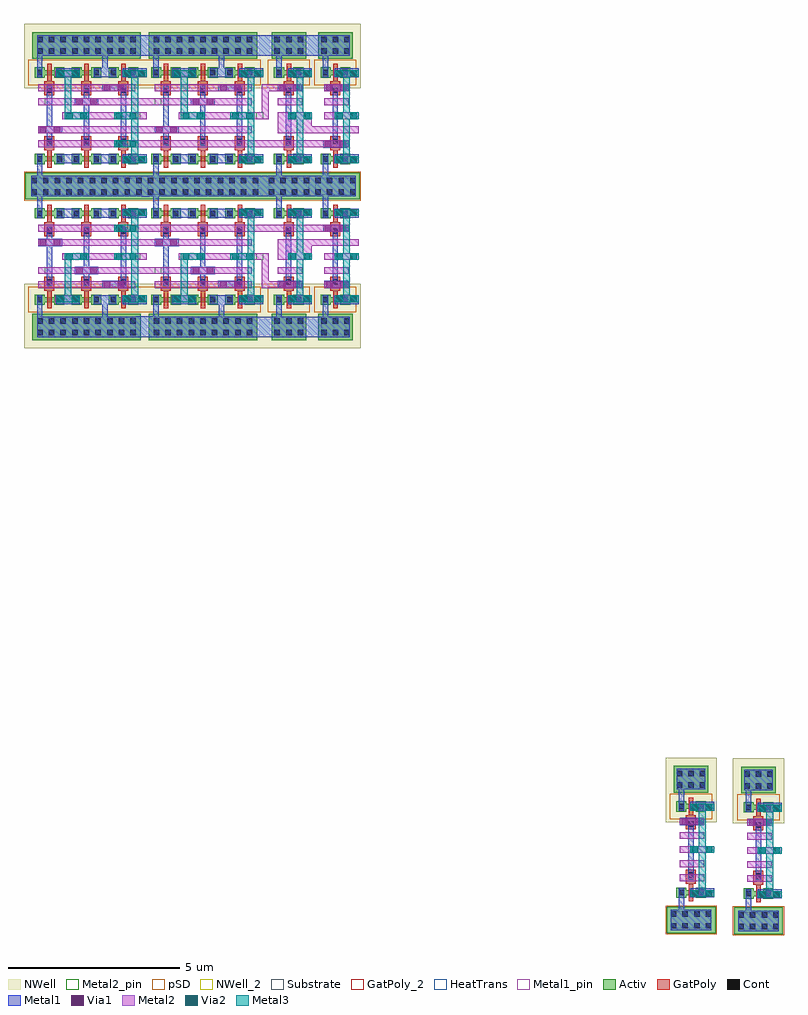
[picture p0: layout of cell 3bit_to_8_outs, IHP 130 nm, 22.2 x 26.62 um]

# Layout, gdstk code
from math import pi, radians
import gdstk
lib = gdstk.Library(unit=1e-6, precision=1e-09)
def R(c, l, rs):  # rectangles x0, y0, x1, y1
    for r in rs: c.add(gdstk.rectangle(r[:2], r[2:], *l))
def A(c, l, x, y, w, h, nx, ny, dx, dy):  # array of equal rectangles
    R(c, l, [(x+i*dx, y+j*dy, x+i*dx+w, y+j*dy+h) for i in range(nx) for j in range(ny)])
Activ = (1, 0)
GatPoly = (5, 0)
GatPoly_2 = (5, 2)
Cont = (6, 0)
Metal1 = (8, 0)
Metal1_pin = (8, 2)
Metal2 = (10, 0)
Metal2_pin = (10, 2)
pSD = (14, 0)
Via1 = (19, 0)
Via2 = (29, 0)
Metal3 = (30, 0)
NWell = (31, 0)
NWell_2 = (31, 2)
Substrate = (40, 0)
HeatTrans = (51, 0)

via_12 = lib.new_cell('Via$12')
R(via_12, Metal1, [(-0.35,-0.105,0.35,0.105)])
R(via_12, Metal2, [(-0.35,-0.1,0.35,0.1)])
R(via_12, Via1, [(-0.3,-0.095,-0.11,0.095), (0.11,-0.095,0.3,0.095)])

ntap1 = lib.new_cell('ntap1')
R(ntap1, Activ, [(0,0,3.17,0.78)])
A(ntap1, Cont, 0.145, 0.14, 0.16, 0.16, 9, 2, 0.34, 0.34)
R(ntap1, Metal1, [(0.145,0.09,3.025,0.69)])
R(ntap1, Metal1_pin, [(0.145,0.09,3.025,0.69), (0.145,0.14,3.025,0.64)])
R(ntap1, NWell, [(-0.24,-0.24,3.41,1.02), (0,0,3.17,0.78)])
R(ntap1, NWell_2, [(0,0,3.17,0.78)])
ntap1.add(gdstk.Label('well', (1.585,0.01), layer=63, texttype=0))
ntap1.add(gdstk.Label('well', (1.585,0.01), layer=31, texttype=0))

ptap1 = lib.new_cell('ptap1')
R(ptap1, Activ, [(0,0,3.59,0.78)])
A(ptap1, Cont, 0.185, 0.14, 0.16, 0.16, 10, 2, 0.34, 0.34)
R(ptap1, Metal1, [(0.185,0.09,3.405,0.69), (0.185,0.14,3.405,0.64)])
R(ptap1, Metal1_pin, [(0.185,0.14,3.405,0.64)])
R(ptap1, pSD, [(-0.03,-0.03,3.62,0.81)])
R(ptap1, Substrate, [(0,0,3.59,0.78)])
ptap1.add(gdstk.Label('sub!', (1.795,0.01), layer=63, texttype=0))
ptap1.add(gdstk.Label('sub!', (1.795,0.01), layer=40, texttype=0))

nmos = lib.new_cell('nmos')
R(nmos, Activ, [(0,0,0.3,0.3), (0.57,0,0.87,0.3), (0,0.075,0.87,0.225)])
R(nmos, GatPoly, [(0.37,-0.105,0.5,0.405)])
R(nmos, GatPoly_2, [(0.37,-0.105,0.5,0.405)])
R(nmos, Cont, [(0.07,0.07,0.23,0.23), (0.64,0.07,0.8,0.23)])
R(nmos, Metal1, [(0.07,0.02,0.23,0.28), (0.64,0.02,0.8,0.28)])
R(nmos, Metal1_pin, [(0.07,0.02,0.23,0.28), (0.64,0.02,0.8,0.28)])
R(nmos, HeatTrans, [(0.37,-0.105,0.5,0.405)])
nmos.add(gdstk.Label('nmos', (0.435,0.15), layer=63, texttype=0))
nmos.add(gdstk.Label('nmos', (0.435,0.15), layer=51, texttype=0))

pmos = lib.new_cell('pmos')
R(pmos, Activ, [(0,0,0.3,0.3), (0.57,0,0.87,0.3), (0,0.075,0.87,0.225)])
R(pmos, GatPoly, [(0.37,-0.105,0.5,0.405), (0.37,-0.105,0.5,0.405)])
R(pmos, Cont, [(0.07,0.07,0.23,0.23), (0.64,0.07,0.8,0.23)])
R(pmos, Metal1, [(0.07,0.02,0.23,0.28), (0.07,0.02,0.23,0.28), (0.64,0.02,0.8,0.28), (0.64,0.02,0.8,0.28)])
R(pmos, pSD, [(-0.18,-0.225,1.05,0.525)])
R(pmos, NWell, [(-0.31,-0.31,1.18,0.61)])
R(pmos, Substrate, [(0.57,0,0.87,0.3)])
R(pmos, HeatTrans, [(0.37,-0.105,0.5,0.405)])
pmos.add(gdstk.Label('pmos', (0.435,0.15), layer=63, texttype=0))
pmos.add(gdstk.Label('pmos', (0.435,0.15), layer=51, texttype=0))

via = lib.new_cell('Via')
R(via, GatPoly, [(-0.15,-0.15,0.15,0.15)])
R(via, Cont, [(-0.08,-0.08,0.08,0.08)])
R(via, Metal1, [(-0.13,-0.08,0.13,0.08)])

via_2 = lib.new_cell('Via$2')
R(via_2, Metal1, [(-0.105,-0.35,0.105,0.35)])
R(via_2, Metal2, [(-0.1,-0.35,0.1,0.35)])
R(via_2, Via1, [(-0.095,-0.3,0.095,-0.11), (-0.095,0.11,0.095,0.3)])

via_8 = lib.new_cell('Via$8')
R(via_8, Metal2, [(-0.35,-0.1,0.35,0.1)])
R(via_8, Via2, [(-0.3,-0.095,-0.11,0.095), (0.11,-0.095,0.3,0.095)])
R(via_8, Metal3, [(-0.35,-0.1,0.35,0.1)])

via_4 = lib.new_cell('Via$4')
R(via_4, Metal2, [(-0.1,-0.35,0.1,0.35)])
R(via_4, Via2, [(-0.095,-0.3,0.095,-0.11), (-0.095,0.11,0.095,0.3)])
R(via_4, Metal3, [(-0.1,-0.35,0.1,0.35)])

via_6 = lib.new_cell('Via$6')
R(via_6, Metal1, [(-0.35,-0.105,0.35,0.105)])
R(via_6, Metal2, [(-0.35,-0.1,0.35,0.1)])
R(via_6, Via1, [(-0.3,-0.095,-0.11,0.095), (0.11,-0.095,0.3,0.095)])

nand_3in = lib.new_cell('NAND_3in')
A(nand_3in, GatPoly, 9.375, 7.165, 0.3, 0.11, 3, 2, 1.08, 1.9)
R(nand_3in, Metal1, [(9.735,6.78,10.405,7.04), (10.815,6.78,11.485,7.04), (11.665,6.78,12.365,7.04), (9.72,9.3,10.42,9.56), (10.815,9.3,11.485,9.56), (11.665,9.3,12.365,9.56)])
R(nand_3in, Metal1_pin, [(9.16,6.015,9.36,6.215), (9.325,10.12,9.525,10.32)])
R(nand_3in, Metal2_pin, [(9.2,7.66,9.4,7.86), (12.165,8.07,12.365,8.27), (9.2,8.48,9.4,8.68), (9.2,8.89,9.4,9.09)])
nand_3in.add(gdstk.FlexPath([(11.685,7.555),(11.685,8.785)], 0.16, ends="flush", simple_path=True, layer=8, datatype=0))  # Metal1
nand_3in.add(gdstk.FlexPath([(11.15,9.56),(11.15,9.925)], 0.16, ends="flush", simple_path=True, layer=8, datatype=0))  # Metal1
nand_3in.add(gdstk.FlexPath([(9.245,9.56),(9.245,10.525)], 0.16, ends="flush", simple_path=True, layer=8, datatype=0))  # Metal1
nand_3in.add(gdstk.FlexPath([(9.245,6.78),(9.245,6.415)], 0.16, ends="flush", simple_path=True, layer=8, datatype=0))  # Metal1
nand_3in.add(gdstk.FlexPath([(9.525,7.555),(9.525,8.785)], 0.16, ends="flush", simple_path=True, layer=8, datatype=0))  # Metal1
nand_3in.add(gdstk.FlexPath([(10.605,7.555),(10.605,8.785)], 0.16, ends="flush", simple_path=True, layer=8, datatype=0))  # Metal1
nand_3in.add(gdstk.FlexPath([(9.9,8.17),(12.365,8.17)], 0.2, ends="flush", simple_path=True, layer=10, datatype=0))  # Metal2
nand_3in.add(gdstk.FlexPath([(11.81,9.405),(11.645,9.405)], 0.2, ends="flush", simple_path=True, layer=10, datatype=0))  # Metal2
nand_3in.add(gdstk.FlexPath([(11.81,6.885),(11.645,6.885)], 0.2, ends="flush", simple_path=True, layer=10, datatype=0))  # Metal2
nand_3in.add(gdstk.FlexPath([(9.2,7.76),(12.035,7.76)], 0.2, ends="flush", simple_path=True, layer=10, datatype=0))  # Metal2
nand_3in.add(gdstk.FlexPath([(9.2,7.35),(12.035,7.35)], 0.2, ends="flush", simple_path=True, layer=10, datatype=0))  # Metal2
nand_3in.add(gdstk.FlexPath([(9.2,8.99),(12.035,8.99)], 0.2, ends="flush", simple_path=True, layer=10, datatype=0))  # Metal2
nand_3in.add(gdstk.FlexPath([(9.2,8.58),(12.035,8.58)], 0.2, ends="flush", simple_path=True, layer=10, datatype=0))  # Metal2
nand_3in.add(gdstk.FlexPath([(9.865,9.405),(9.7,9.405)], 0.2, ends="flush", simple_path=True, layer=10, datatype=0))  # Metal2
nand_3in.add(gdstk.FlexPath([(10.43,8.58),(10.43,8.58)], 0.2, ends="flush", simple_path=True, layer=10, datatype=0))  # Metal2
nand_3in.add(gdstk.FlexPath([(12.015,6.885),(12.015,8.17)], 0.2, ends="flush", simple_path=True, layer=30, datatype=0))  # Metal3
nand_3in.add(gdstk.FlexPath([(12.015,9.405),(12.015,8.17)], 0.2, ends="flush", simple_path=True, layer=30, datatype=0))  # Metal3
nand_3in.add(gdstk.FlexPath([(10.07,9.305),(10.07,8.07)], 0.2, ends="flush", simple_path=True, layer=30, datatype=0))  # Metal3
nand_3in.add(gdstk.Reference(ntap1, (9.025,9.835)))
nand_3in.add(gdstk.Reference(ptap1, (8.815,5.725)))
nand_3in.add(gdstk.Reference(nmos, (10.175,6.76)))
nand_3in.add(gdstk.Reference(pmos, (10.175,9.28)))
nand_3in.add(gdstk.Reference(nmos, (9.095,6.76)))
nand_3in.add(gdstk.Reference(pmos, (9.095,9.28)))
nand_3in.add(gdstk.Reference(via, (9.525,8.915), rotation=pi/2))
nand_3in.add(gdstk.Reference(via, (10.605,8.915), rotation=pi/2))
nand_3in.add(gdstk.Reference(via, (10.605,7.425), rotation=3*pi/2))
nand_3in.add(gdstk.Reference(via, (9.525,7.425), rotation=3*pi/2))
nand_3in.add(gdstk.Reference(via_2, (10.61,8.58), rotation=3*pi/2))
nand_3in.add(gdstk.Reference(via_8, (10.32,8.17)))
nand_3in.add(gdstk.Reference(via_2, (10.07,9.405), rotation=3*pi/2))
nand_3in.add(gdstk.Reference(via_4, (10.07,9.405), rotation=3*pi/2))
nand_3in.add(gdstk.Reference(via_6, (11.415,8.99)))
nand_3in.add(gdstk.Reference(pmos, (11.255,9.28)))
nand_3in.add(gdstk.Reference(nmos, (11.255,6.76)))
nand_3in.add(gdstk.Reference(via, (11.685,8.915), rotation=pi/2))
nand_3in.add(gdstk.Reference(via, (11.685,7.425), rotation=3*pi/2))
nand_3in.add(gdstk.Reference(via_2, (9.55,7.76), rotation=3*pi/2))
nand_3in.add(gdstk.Reference(via_2, (12.015,9.405), rotation=3*pi/2))
nand_3in.add(gdstk.Reference(via_4, (12.015,9.405), rotation=3*pi/2))
nand_3in.add(gdstk.Reference(via_2, (12.015,6.885), rotation=3*pi/2))
nand_3in.add(gdstk.Reference(via_4, (12.015,6.885), rotation=3*pi/2))
nand_3in.add(gdstk.Reference(via_8, (11.765,8.17)))
nand_3in.add(gdstk.Label('c', (9.315,7.755), layer=10, texttype=25))
nand_3in.add(gdstk.Label('y', (12.265,8.17), layer=10, texttype=25))
nand_3in.add(gdstk.Label('b', (9.315,8.575), layer=10, texttype=25))
nand_3in.add(gdstk.Label('a', (9.3,8.99), layer=10, texttype=25))
nand_3in.add(gdstk.Label('VP', (9.295,10.22), layer=8, texttype=25))
nand_3in.add(gdstk.Label('GND', (9.26,6.115), layer=8, texttype=25))

via_11 = lib.new_cell('Via$11')
R(via_11, Metal2, [(-0.35,-0.1,0.35,0.1)])
R(via_11, Via2, [(-0.3,-0.095,-0.11,0.095), (0.11,-0.095,0.3,0.095)])
R(via_11, Metal3, [(-0.35,-0.1,0.35,0.1)])

via_4_1 = lib.new_cell('Via$4$1')
R(via_4_1, Metal2, [(-0.1,-0.35,0.1,0.35)])
R(via_4_1, Via2, [(-0.095,-0.3,0.095,-0.11), (-0.095,0.11,0.095,0.3)])
R(via_4_1, Metal3, [(-0.1,-0.35,0.1,0.35)])

ntap1_1 = lib.new_cell('ntap1$1')
R(ntap1_1, Activ, [(0,0,1.01,0.78)])
A(ntap1_1, Cont, 0.085, 0.14, 0.16, 0.16, 3, 2, 0.34, 0.34)
R(ntap1_1, Metal1, [(0.085,0.09,0.925,0.69)])
R(ntap1_1, Metal1_pin, [(0.085,0.09,0.925,0.69), (0.085,0.14,0.925,0.64)])
R(ntap1_1, NWell, [(-0.24,-0.24,1.25,1.02), (0,0,1.01,0.78)])
R(ntap1_1, NWell_2, [(0,0,1.01,0.78)])
ntap1_1.add(gdstk.Label('well', (0.505,0.01), layer=63, texttype=0))
ntap1_1.add(gdstk.Label('well', (0.505,0.01), layer=31, texttype=0))

ptap1_1 = lib.new_cell('ptap1$1')
R(ptap1_1, Activ, [(0,0,1.43,0.78)])
A(ptap1_1, Cont, 0.125, 0.14, 0.16, 0.16, 4, 2, 0.34, 0.34)
R(ptap1_1, Metal1, [(0.125,0.09,1.305,0.69), (0.125,0.14,1.305,0.64)])
R(ptap1_1, Metal1_pin, [(0.125,0.14,1.305,0.64)])
R(ptap1_1, pSD, [(-0.03,-0.03,1.46,0.81)])
R(ptap1_1, Substrate, [(0,0,1.43,0.78)])
ptap1_1.add(gdstk.Label('sub!', (0.715,0.01), layer=63, texttype=0))
ptap1_1.add(gdstk.Label('sub!', (0.715,0.01), layer=40, texttype=0))

via_2_1 = lib.new_cell('Via$2$1')
R(via_2_1, Metal1, [(-0.105,-0.35,0.105,0.35)])
R(via_2_1, Metal2, [(-0.1,-0.35,0.1,0.35)])
R(via_2_1, Via1, [(-0.095,-0.3,0.095,-0.11), (-0.095,0.11,0.095,0.3)])

nmos_1 = lib.new_cell('nmos$1')
R(nmos_1, Activ, [(0,0,0.3,0.3), (0.57,0,0.87,0.3), (0,0.075,0.87,0.225)])
R(nmos_1, GatPoly, [(0.37,-0.105,0.5,0.405)])
R(nmos_1, GatPoly_2, [(0.37,-0.105,0.5,0.405)])
R(nmos_1, Cont, [(0.07,0.07,0.23,0.23), (0.64,0.07,0.8,0.23)])
R(nmos_1, Metal1, [(0.07,0.02,0.23,0.28), (0.64,0.02,0.8,0.28)])
R(nmos_1, Metal1_pin, [(0.07,0.02,0.23,0.28), (0.64,0.02,0.8,0.28)])
R(nmos_1, HeatTrans, [(0.37,-0.105,0.5,0.405)])
nmos_1.add(gdstk.Label('nmos', (0.435,0.15), layer=63, texttype=0))
nmos_1.add(gdstk.Label('nmos', (0.435,0.15), layer=51, texttype=0))

pmos_1 = lib.new_cell('pmos$1')
R(pmos_1, Activ, [(0,0,0.3,0.3), (0.57,0,0.87,0.3), (0,0.075,0.87,0.225)])
R(pmos_1, GatPoly, [(0.37,-0.105,0.5,0.405), (0.37,-0.105,0.5,0.405)])
R(pmos_1, Cont, [(0.07,0.07,0.23,0.23), (0.64,0.07,0.8,0.23)])
R(pmos_1, Metal1, [(0.07,0.02,0.23,0.28), (0.07,0.02,0.23,0.28), (0.64,0.02,0.8,0.28), (0.64,0.02,0.8,0.28)])
R(pmos_1, pSD, [(-0.18,-0.225,1.05,0.525)])
R(pmos_1, NWell, [(-0.31,-0.31,1.18,0.61)])
R(pmos_1, Substrate, [(0.57,0,0.87,0.3)])
R(pmos_1, HeatTrans, [(0.37,-0.105,0.5,0.405)])
pmos_1.add(gdstk.Label('pmos', (0.435,0.15), layer=63, texttype=0))
pmos_1.add(gdstk.Label('pmos', (0.435,0.15), layer=51, texttype=0))

via_9 = lib.new_cell('Via$9')
R(via_9, GatPoly, [(-0.15,-0.15,0.15,0.15)])
R(via_9, Cont, [(-0.08,-0.08,0.08,0.08)])
R(via_9, Metal1, [(-0.13,-0.08,0.13,0.08)])

via_7 = lib.new_cell('Via$7')
R(via_7, Metal2, [(-0.35,-0.1,0.35,0.1)])
R(via_7, Via2, [(-0.3,-0.095,-0.11,0.095), (0.11,-0.095,0.3,0.095)])
R(via_7, Metal3, [(-0.35,-0.1,0.35,0.1)])

inverter = lib.new_cell('inverter')
R(inverter, GatPoly, [(9.375,7.165,9.675,7.275), (9.375,9.065,9.675,9.175)])
R(inverter, Metal1, [(9.505,6.78,10.205,7.04), (9.505,9.3,10.205,9.56)])
R(inverter, Metal1_pin, [(9.16,6.015,9.36,6.215), (9.325,10.12,9.525,10.32)])
R(inverter, Metal2_pin, [(10.005,8.07,10.205,8.27), (9.2,8.89,9.4,9.09)])
inverter.add(gdstk.FlexPath([(9.245,9.56),(9.245,10.525)], 0.16, ends="flush", simple_path=True, layer=8, datatype=0))  # Metal1
inverter.add(gdstk.FlexPath([(9.245,6.78),(9.245,6.415)], 0.16, ends="flush", simple_path=True, layer=8, datatype=0))  # Metal1
inverter.add(gdstk.FlexPath([(9.525,7.555),(9.525,8.785)], 0.16, ends="flush", simple_path=True, layer=8, datatype=0))  # Metal1
inverter.add(gdstk.FlexPath([(9.65,9.405),(9.485,9.405)], 0.2, ends="flush", simple_path=True, layer=10, datatype=0))  # Metal2
inverter.add(gdstk.FlexPath([(9.65,6.885),(9.485,6.885)], 0.2, ends="flush", simple_path=True, layer=10, datatype=0))  # Metal2
inverter.add(gdstk.FlexPath([(9.2,8.99),(9.92,8.99)], 0.2, ends="flush", simple_path=True, layer=10, datatype=0))  # Metal2
inverter.add(gdstk.FlexPath([(9.2,8.58),(9.92,8.58)], 0.2, ends="flush", simple_path=True, layer=10, datatype=0))  # Metal2
inverter.add(gdstk.FlexPath([(9.2,7.76),(9.92,7.76)], 0.2, ends="flush", simple_path=True, layer=10, datatype=0))  # Metal2
inverter.add(gdstk.FlexPath([(9.2,7.35),(9.92,7.35)], 0.2, ends="flush", simple_path=True, layer=10, datatype=0))  # Metal2
inverter.add(gdstk.FlexPath([(9.2,8.17),(10.205,8.17)], 0.2, ends="flush", simple_path=True, layer=10, datatype=0))  # Metal2
inverter.add(gdstk.FlexPath([(9.855,6.885),(9.855,8.17)], 0.2, ends="flush", simple_path=True, layer=30, datatype=0))  # Metal3
inverter.add(gdstk.FlexPath([(9.855,9.405),(9.855,8.17)], 0.2, ends="flush", simple_path=True, layer=30, datatype=0))  # Metal3
inverter.add(gdstk.Reference(via_4_1, (9.855,6.885), rotation=3*pi/2))
inverter.add(gdstk.Reference(ntap1_1, (9.025,9.835)))
inverter.add(gdstk.Reference(ptap1_1, (8.815,5.725)))
inverter.add(gdstk.Reference(via_2_1, (9.855,6.885), rotation=3*pi/2))
inverter.add(gdstk.Reference(nmos_1, (9.095,6.76)))
inverter.add(gdstk.Reference(pmos_1, (9.095,9.28)))
inverter.add(gdstk.Reference(via_9, (9.525,8.915), rotation=pi/2))
inverter.add(gdstk.Reference(via_9, (9.525,7.425), rotation=3*pi/2))
inverter.add(gdstk.Reference(via_4_1, (9.855,9.405), rotation=3*pi/2))
inverter.add(gdstk.Reference(via_2_1, (9.555,8.99), rotation=3*pi/2))
inverter.add(gdstk.Reference(via_2_1, (9.855,9.405), rotation=3*pi/2))
inverter.add(gdstk.Reference(via_7, (9.855,8.17)))
inverter.add(gdstk.Label('out', (10.105,8.17), layer=10, texttype=25))
inverter.add(gdstk.Label('in', (9.3,8.99), layer=10, texttype=25))
inverter.add(gdstk.Label('VP', (9.295,10.22), layer=8, texttype=25))
inverter.add(gdstk.Label('GND', (9.26,6.115), layer=8, texttype=25))

c_3bit_to_8_outs = lib.new_cell('3bit_to_8_outs')
R(c_3bit_to_8_outs, Metal1, [(9.31,18.325,9.83,18.93), (12.71,18.325,14.72,18.925), (9.48,22.43,9.705,23.035), (9.48,22.435,9.705,23.04), (12.88,22.435,14.6,23.035), (12.88,22.435,14.6,23.035), (9.31,26.54,9.83,27.145), (12.71,26.545,14.72,27.145)])
R(c_3bit_to_8_outs, Metal2, [(13.45,20.58,14.455,21.19), (13.45,24.28,14.455,24.89)])
c_3bit_to_8_outs.add(gdstk.FlexPath([(15.53,24.38),(15.815,24.38)], 0.2, ends="flush", simple_path=True, layer=10, datatype=0))  # Metal2
c_3bit_to_8_outs.add(gdstk.FlexPath([(14.17,24.38),(14.81,24.38)], 0.2, ends="flush", simple_path=True, layer=10, datatype=0))  # Metal2
c_3bit_to_8_outs.add(gdstk.FlexPath([(12.925,24.79),(13.09,24.79),(13.09,25.61),(13.55,25.61)], 0.2, ends="flush", simple_path=True, layer=10, datatype=0))  # Metal2
c_3bit_to_8_outs.add(gdstk.FlexPath([(13.45,23.97),(12.695,23.97)], 0.2, ends="flush", simple_path=True, layer=10, datatype=0))  # Metal2
c_3bit_to_8_outs.add(gdstk.FlexPath([(14.17,23.97),(14.81,23.97)], 0.2, ends="flush", simple_path=True, layer=10, datatype=0))  # Metal2
c_3bit_to_8_outs.add(gdstk.FlexPath([(15.135,23.965),(15.135,23.965)], 0.2, ends="flush", simple_path=True, layer=10, datatype=0))  # Metal2
c_3bit_to_8_outs.add(gdstk.FlexPath([(15.53,21.09),(15.815,21.09)], 0.2, ends="flush", simple_path=True, layer=10, datatype=0))  # Metal2
c_3bit_to_8_outs.add(gdstk.FlexPath([(14.17,21.09),(14.81,21.09)], 0.2, ends="flush", simple_path=True, layer=10, datatype=0))  # Metal2
c_3bit_to_8_outs.add(gdstk.FlexPath([(12.925,20.68),(13.09,20.68),(13.09,19.86),(13.55,19.86)], 0.2, ends="flush", simple_path=True, layer=10, datatype=0))  # Metal2
c_3bit_to_8_outs.add(gdstk.FlexPath([(13.45,21.5),(12.695,21.5)], 0.2, ends="flush", simple_path=True, layer=10, datatype=0))  # Metal2
c_3bit_to_8_outs.add(gdstk.FlexPath([(14.17,21.5),(14.81,21.5)], 0.2, ends="flush", simple_path=True, layer=10, datatype=0))  # Metal2
c_3bit_to_8_outs.add(gdstk.FlexPath([(15.135,21.505),(15.135,21.505)], 0.2, ends="flush", simple_path=True, layer=10, datatype=0))  # Metal2
c_3bit_to_8_outs.add(gdstk.FlexPath([(9.295,21.09),(9.91,21.09)], 0.2, ends="flush", simple_path=True, layer=10, datatype=0))  # Metal2
c_3bit_to_8_outs.add(gdstk.FlexPath([(9.295,20.27),(9.91,20.27)], 0.2, ends="flush", simple_path=True, layer=10, datatype=0))  # Metal2
c_3bit_to_8_outs.add(gdstk.FlexPath([(9.205,21.5),(9.205,21.5)], 0.2, ends="flush", simple_path=True, layer=10, datatype=0))  # Metal2
c_3bit_to_8_outs.add(gdstk.FlexPath([(9.375,21.5),(9.86,21.5)], 0.2, ends="flush", simple_path=True, layer=10, datatype=0))  # Metal2
c_3bit_to_8_outs.add(gdstk.FlexPath([(9.295,24.38),(9.91,24.38)], 0.2, ends="flush", simple_path=True, layer=10, datatype=0))  # Metal2
c_3bit_to_8_outs.add(gdstk.FlexPath([(9.295,25.2),(9.91,25.2)], 0.2, ends="flush", simple_path=True, layer=10, datatype=0))  # Metal2
c_3bit_to_8_outs.add(gdstk.FlexPath([(9.205,23.97),(9.205,23.97)], 0.2, ends="flush", simple_path=True, layer=10, datatype=0))  # Metal2
c_3bit_to_8_outs.add(gdstk.FlexPath([(9.375,23.97),(9.86,23.97)], 0.2, ends="flush", simple_path=True, layer=10, datatype=0))  # Metal2
c_3bit_to_8_outs.add(gdstk.Reference(via_12, (15.135,21.505), x_reflection=True))
c_3bit_to_8_outs.add(gdstk.Reference(nand_3in, (-2.74,28.85), x_reflection=True))
c_3bit_to_8_outs.add(gdstk.Reference(via_11, (9.025,21.5), x_reflection=True))
c_3bit_to_8_outs.add(gdstk.Reference(inverter, (5.61,28.85), x_reflection=True))
c_3bit_to_8_outs.add(gdstk.Reference(inverter, (4.25,28.85), x_reflection=True))
c_3bit_to_8_outs.add(gdstk.Reference(nand_3in, (0.66,28.85), x_reflection=True))
c_3bit_to_8_outs.add(gdstk.Reference(inverter, (15.995,-4.81)))
c_3bit_to_8_outs.add(gdstk.Reference(inverter, (17.965,-4.835)))
c_3bit_to_8_outs.add(gdstk.Reference(via_12, (15.135,23.965)))
c_3bit_to_8_outs.add(gdstk.Reference(nand_3in, (-2.74,16.62)))
c_3bit_to_8_outs.add(gdstk.Reference(via_11, (9.025,23.97)))
c_3bit_to_8_outs.add(gdstk.Reference(inverter, (5.61,16.62)))
c_3bit_to_8_outs.add(gdstk.Reference(inverter, (4.25,16.62)))
c_3bit_to_8_outs.add(gdstk.Reference(nand_3in, (0.66,16.62)))

lib.write_gds('3bit_to_8_outs.gds')
